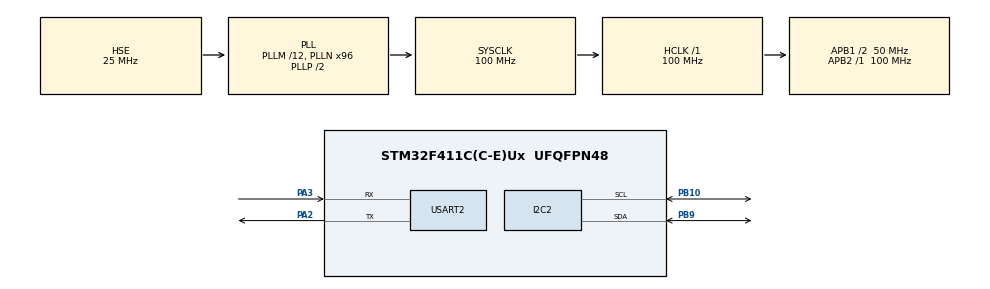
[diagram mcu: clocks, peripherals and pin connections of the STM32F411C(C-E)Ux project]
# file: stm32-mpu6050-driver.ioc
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Mcu.Family=STM32F4
Mcu.Name=STM32F411C(C-E)Ux
Mcu.Package=UFQFPN48
NVIC.PriorityGroup=NVIC_PRIORITYGROUP_4
PA13.Mode=Serial_Wire
PA13.Signal=SYS_JTMS-SWDIO
PA14.Mode=Serial_Wire
PA14.Signal=SYS_JTCK-SWCLK
PA2.Mode=Asynchronous
PA2.Signal=USART2_TX
PA3.Mode=Asynchronous
PA3.Signal=USART2_RX
PB10.Mode=I2C
PB10.Signal=I2C2_SCL
PB9.Mode=I2C
PB9.Signal=I2C2_SDA
PH0\ -\ OSC_IN.Mode=HSE-External-Oscillator
PH0\ -\ OSC_IN.Signal=RCC_OSC_IN
PH1\ -\ OSC_OUT.Mode=HSE-External-Oscillator
PH1\ -\ OSC_OUT.Signal=RCC_OSC_OUT
ProjectManager.HeapSize=0x200
ProjectManager.StackSize=0x400
ProjectManager.TargetToolchain=STM32CubeIDE
RCC.48MHZClocksFreq_Value=50000000
RCC.AHBFreq_Value=100000000
RCC.APB1CLKDivider=RCC_HCLK_DIV2
RCC.APB1Freq_Value=50000000
RCC.APB1TimFreq_Value=100000000
RCC.APB2Freq_Value=100000000
RCC.APB2TimFreq_Value=100000000
RCC.CortexFreq_Value=100000000
RCC.HCLKFreq_Value=100000000
RCC.HSE_VALUE=25000000
RCC.HSI_VALUE=16000000
RCC.LSE_VALUE=32768
RCC.PLLM=12
RCC.PLLN=96
RCC.PLLSourceVirtual=RCC_PLLSOURCE_HSE
RCC.SYSCLKFreq_VALUE=100000000
RCC.SYSCLKSource=RCC_SYSCLKSOURCE_PLLCLK
RCC.VCOOutputFreq_Value=200000000
USART2.VirtualMode=VM_ASYNC
board=custom

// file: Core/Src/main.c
/* USER CODE BEGIN Header */
/**
  ******************************************************************************
  * @file           : main.c
  * @brief          : Main program body
  ******************************************************************************
  * @attention
  *
  * Copyright (c) 2025 STMicroelectronics.
  * All rights reserved.
  *
  * This software is licensed under terms that can be found in the LICENSE file
  * in the root directory of this software component.
  * If no LICENSE file comes with this software, it is provided AS-IS.
  *
  ******************************************************************************
  */
/* USER CODE END Header */
#include "main.h"

/* USER CODE BEGIN Includes */
#include <stdio.h>
#include "mpu6050.h"
/* USER CODE END Includes */

I2C_HandleTypeDef hi2c2;

UART_HandleTypeDef huart2;

void SystemClock_Config(void);
static void MX_GPIO_Init(void);
static void MX_USART2_UART_Init(void);
static void MX_I2C2_Init(void);

/* USER CODE BEGIN 0 */

MPU6050_t mpu;
MPU6050_Data_t sensor_data;

//Use printf with UART
int _write(int fd, char *ptr, int len) {

    if (fd == 1) {
        HAL_StatusTypeDef hstatus;
        hstatus = HAL_UART_Transmit(&huart2, (uint8_t*) ptr, len, HAL_MAX_DELAY);
        if (hstatus == HAL_OK)
            return len;
        else
            return -1;
    } else if (fd == 2) {
        for (int i = 0; i < len; i++) {
            ITM_SendChar(ptr[i]); /* core_cm4.h */
        }
        return len;
    }
    return -1;
}

/* USER CODE END 0 */

int main(void)
{

  /* MCU Configuration--------------------------------------------------------*/

  /* Reset of all peripherals, Initializes the Flash interface and the Systick. */
  HAL_Init();

  /* Configure the system clock */
  SystemClock_Config();

  /* Initialize all configured peripherals */
  MX_GPIO_Init();
  MX_USART2_UART_Init();
  MX_I2C2_Init();
  /* USER CODE BEGIN 2 */
  // Initialize MPU6050
  if (MPU6050_Init(&mpu, &hi2c2) != HAL_OK) {
          printf("MPU6050 initialization failed!\n");
          Error_Handler();
      }

  if (MPU6050_Config(&mpu, MPU6050_GYRO_1000, MPU6050_ACCEL_4G) != HAL_OK) {
	  printf("MPU6050 configuration failed!\n");
	  Error_Handler();
  }
  MPU6050_Calibrate(&mpu);
  /* USER CODE END 2 */

  /* Infinite loop */
  /* USER CODE BEGIN WHILE */
  while (1)
  {
	  if (MPU6050_ReadData(&mpu, &sensor_data) == HAL_OK) {
		//printf("RAW Accel: %d %d %d\n", sensor_data.ax, sensor_data.ay, sensor_data.az);

		//printf("%.2f\t%.2f\t%.2f\n", sensor_data.ax_g, sensor_data.ay_g, sensor_data.az_g);
		/*printf("%.2f\t%.2f\t%.2f\t%.2f\t%.2f\t%.2f\n",
		         sensor_data.ax_g, sensor_data.ay_g, sensor_data.az_g,
		         sensor_data.gx_dps, sensor_data.gy_dps, sensor_data.gz_dps);
	 	 */
		  float pitch, roll;
		  calculate_pitch_roll(sensor_data.ax_g, sensor_data.ay_g, sensor_data.az_g, &pitch, &roll);
		  printf("Pitch: %.2f deg\tRoll: %.2f deg\n", pitch, roll);
  } else {
	  printf("MPU6050 read failed\n");
  }

  HAL_Delay(1000);
    /* USER CODE END WHILE */

  }
}

void SystemClock_Config(void)
{
  RCC_OscInitTypeDef RCC_OscInitStruct = {0};
  RCC_ClkInitTypeDef RCC_ClkInitStruct = {0};

  /** Configure the main internal regulator output voltage
  */
  __HAL_RCC_PWR_CLK_ENABLE();
  __HAL_PWR_VOLTAGESCALING_CONFIG(PWR_REGULATOR_VOLTAGE_SCALE1);

  /** Initializes the RCC Oscillators according to the specified parameters
  * in the RCC_OscInitTypeDef structure.
  */
  RCC_OscInitStruct.OscillatorType = RCC_OSCILLATORTYPE_HSE;
  RCC_OscInitStruct.HSEState = RCC_HSE_ON;
  RCC_OscInitStruct.PLL.PLLState = RCC_PLL_ON;
  RCC_OscInitStruct.PLL.PLLSource = RCC_PLLSOURCE_HSE;
  RCC_OscInitStruct.PLL.PLLM = 12;
  RCC_OscInitStruct.PLL.PLLN = 96;
  RCC_OscInitStruct.PLL.PLLP = RCC_PLLP_DIV2;
  RCC_OscInitStruct.PLL.PLLQ = 4;
  if (HAL_RCC_OscConfig(&RCC_OscInitStruct) != HAL_OK)
  {
    Error_Handler();
  }

  /** Initializes the CPU, AHB and APB buses clocks
  */
  RCC_ClkInitStruct.ClockType = RCC_CLOCKTYPE_HCLK|RCC_CLOCKTYPE_SYSCLK
                              |RCC_CLOCKTYPE_PCLK1|RCC_CLOCKTYPE_PCLK2;
  RCC_ClkInitStruct.SYSCLKSource = RCC_SYSCLKSOURCE_PLLCLK;
  RCC_ClkInitStruct.AHBCLKDivider = RCC_SYSCLK_DIV1;
  RCC_ClkInitStruct.APB1CLKDivider = RCC_HCLK_DIV2;
  RCC_ClkInitStruct.APB2CLKDivider = RCC_HCLK_DIV1;

  if (HAL_RCC_ClockConfig(&RCC_ClkInitStruct, FLASH_LATENCY_3) != HAL_OK)
  {
    Error_Handler();
  }
}

static void MX_I2C2_Init(void)
{

  hi2c2.Instance = I2C2;
  hi2c2.Init.ClockSpeed = 100000;
  hi2c2.Init.DutyCycle = I2C_DUTYCYCLE_2;
  hi2c2.Init.OwnAddress1 = 0;
  hi2c2.Init.AddressingMode = I2C_ADDRESSINGMODE_7BIT;
  hi2c2.Init.DualAddressMode = I2C_DUALADDRESS_DISABLE;
  hi2c2.Init.OwnAddress2 = 0;
  hi2c2.Init.GeneralCallMode = I2C_GENERALCALL_DISABLE;
  hi2c2.Init.NoStretchMode = I2C_NOSTRETCH_DISABLE;
  if (HAL_I2C_Init(&hi2c2) != HAL_OK)
  {
    Error_Handler();
  }

}

static void MX_USART2_UART_Init(void)
{

  huart2.Instance = USART2;
  huart2.Init.BaudRate = 115200;
  huart2.Init.WordLength = UART_WORDLENGTH_8B;
  huart2.Init.StopBits = UART_STOPBITS_1;
  huart2.Init.Parity = UART_PARITY_NONE;
  huart2.Init.Mode = UART_MODE_TX_RX;
  huart2.Init.HwFlowCtl = UART_HWCONTROL_NONE;
  huart2.Init.OverSampling = UART_OVERSAMPLING_16;
  if (HAL_UART_Init(&huart2) != HAL_OK)
  {
    Error_Handler();
  }

}

static void MX_GPIO_Init(void)
{

  /* GPIO Ports Clock Enable */
  __HAL_RCC_GPIOH_CLK_ENABLE();
  __HAL_RCC_GPIOA_CLK_ENABLE();
  __HAL_RCC_GPIOB_CLK_ENABLE();

}

void Error_Handler(void)
{
  __disable_irq();
  while (1)
  {
  }
}
